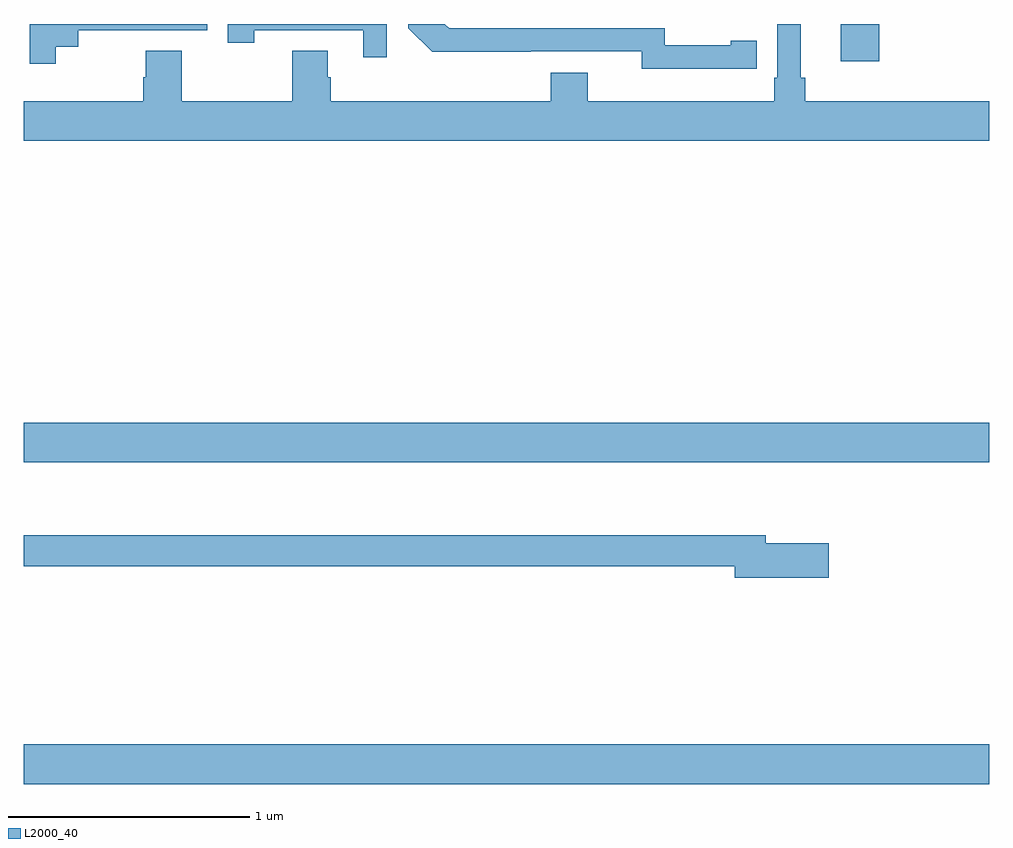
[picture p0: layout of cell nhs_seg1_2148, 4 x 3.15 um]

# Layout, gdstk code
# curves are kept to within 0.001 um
import gdstk
lib = gdstk.Library(unit=1e-6, precision=1e-09)
def R(c, l, rs):  # rectangles x0, y0, x1, y1
    for r in rs: c.add(gdstk.rectangle(r[:2], r[2:], *l))
def P(c, l, *ps):  # polygons
    for p in ps: c.add(gdstk.Polygon(p, *l))
L2000_40 = (2000, 40)

nhs_seg1_2148 = lib.new_cell('nhs_seg1_2148')
R(nhs_seg1_2148, L2000_40, [(227,565.052,231,565.216), (227,566.384,231,566.548), (230.384,568.044,230.543,568.199)])
P(nhs_seg1_2148, L2000_40, [(231,567.88),(230.237,567.88),(230.237,567.976),(230.218,567.976),(230.218,568.199),(230.121,568.199),(230.121,567.976),(230.108,567.976),(230.108,567.88),(229.336,567.88),(229.336,567.997),(229.184,567.997),(229.184,567.88),(228.272,567.88),(228.272,567.978),(228.259,567.978),(228.259,568.088),(228.112,568.088),(228.112,567.88),(227.655,567.88),(227.655,568.088),(227.507,568.088),(227.507,567.978),(227.495,567.978),(227.495,567.88),(227,567.88),(227,567.716),(231,567.716)],
  [(227.134,568.105),(227.226,568.105),(227.226,568.173),(227.76,568.173),(227.76,568.199),(227.025,568.199),(227.025,568.035),(227.134,568.035)],
  [(228.504,568.199),(227.845,568.199),(227.845,568.122),(227.956,568.122),(227.956,568.173),(228.407,568.173),(228.407,568.062),(228.504,568.062)],
  [(229.928,568.014),(230.036,568.014),(230.036,568.13),(229.928,568.13),(229.928,568.11),(229.656,568.11),(229.656,568.182),(228.762,568.182),(228.745,568.199),(228.594,568.199),(228.594,568.182),(228.692,568.085),(229.56,568.086),(229.56,568.013)],
  [(230.335,566.049),(230.074,566.049),(230.074,566.083),(227,566.083),(227,565.954),(229.946,565.954),(229.946,565.907),(230.335,565.907)])

lib.write_gds('nhs_seg1_2148.gds')
